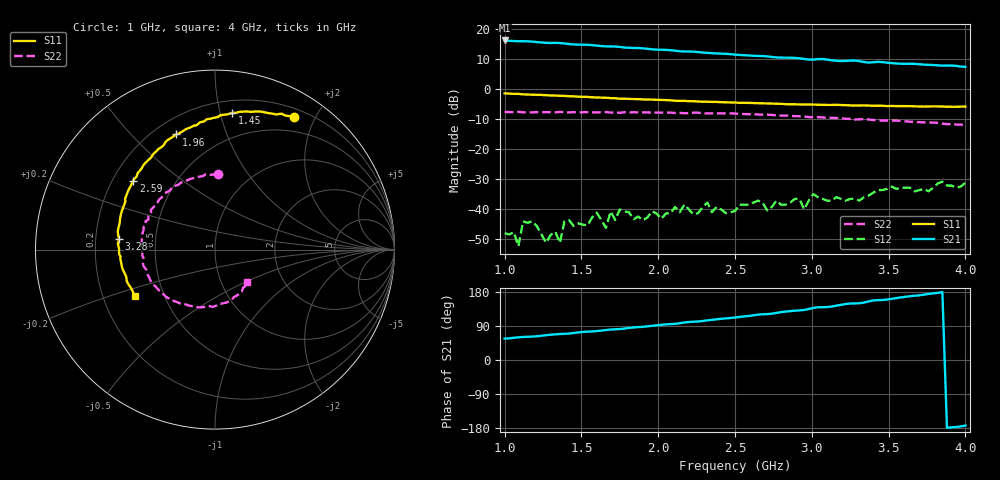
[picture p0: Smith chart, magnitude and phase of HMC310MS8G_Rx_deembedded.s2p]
!Hittite Microwave Corporation
!12 Elizabeth Drive
!Chelmsford, MA 01824
!Tel: 978-250-3343
!Fax: 978-250-3373
!Device: HMC310MS8G, BLUETOOTH and 2.4 GHz WLAN Receiver in 8-lead MSOP package with ground slug
!Misc: VDD=3 11.5MA RX , DEEMBEDDED TO THE PINS OF THE DEVICE
# MHZ S MA R 50
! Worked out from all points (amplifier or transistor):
!   101 points, 1 GHz to 4 GHz, reference 50 ohm
!   highest |S21| = 16.3 dB at 1 GHz (marker M1)
!   |S21| within 3 dB of that: start of sweep to 1.973 GHz
!   unconditionally stable (mu >= 1): start of sweep to end of sweep
!   at 1.48 GHz: K = 5.39, MAG = 19.5 dB, |S12| = -44.6 dB
!   at 2.5 GHz: K = 7.57, MAG = 14.3 dB, |S12| = -40.5 dB
!   at 4 GHz: K = 5.28, MAG = 9.1 dB, |S12| = -31.1 dB
!   S11 on the Smith chart (normalised r, x): 1 GHz: 0.31, +1.73; 1.45 GHz: 0.29, +1.09; 1.96 GHz: 0.29, +0.68; 2.59 GHz: 0.28, +0.34; 3.28 GHz: 0.30, +0.05; 4 GHz: 0.34, -0.24
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1000  0.859 59.0  6.55 56.3  0.004027 -127.9  0.422 87.5
1060  0.843 62.4  6.404 58.6  0.004181 168.3  0.417 94.0
1090  0.843 64.0  6.355 59.8  0.00244 -122.4  0.423 96.9
1120  0.827 65.6  6.374 60.8  0.006304 -171.2  0.415 99.5
1180  0.817 68.5  6.263 61.9  0.006336 -138.6  0.415 105.7
1270  0.802 73.7  5.983 65.5  0.002791 -149.3  0.417 115.0
1330  0.79 77.0  5.98 67.6  0.004237 -135.0  0.415 119.5
1360  0.784 78.6  5.934 68.6  0.00278 -152.9  0.421 123.1
1390  0.78 79.9  5.838 69.0  0.006362 -92.6  0.42 124.8
1450  0.767 83.0  5.613 71.3  0.005295 -80.6  0.419 130.7
1510  0.753 86.1  5.564 74.0  0.005567 -106.6  0.416 135.7
1960  0.677 108.5  4.663 90.1  0.009309 -43.3  0.412 170.8
2020  0.667 112.0  4.58 92.8  0.007001 -51.1  0.412 176.1
2170  0.644 119.1  4.289 99.0  0.012 -42.7  0.402 -174.0
2500  0.606 135.3  3.808 112.1  0.009412 -10.1  0.396 -150.4
2590  0.596 139.9  3.681 116.3  0.012 -4.4  0.386 -144.9
2920  0.562 155.7  3.308 130.9  0.015 18.2  0.357 -122.4
2950  0.562 157.6  3.228 132.1  0.01 26.7  0.354 -120.3
3010  0.559 160.1  3.143 137.3  0.018 33.7  0.345 -116.8
3280  0.538 173.9  3.03 149.4  0.015 40.8  0.315 -96.4
3520  0.53 -174.4  2.744 161.4  0.024 78.5  0.302 -80.8
4000  0.518 -149.9  2.374 -172.9  0.028 115.1  0.255 -44.9
